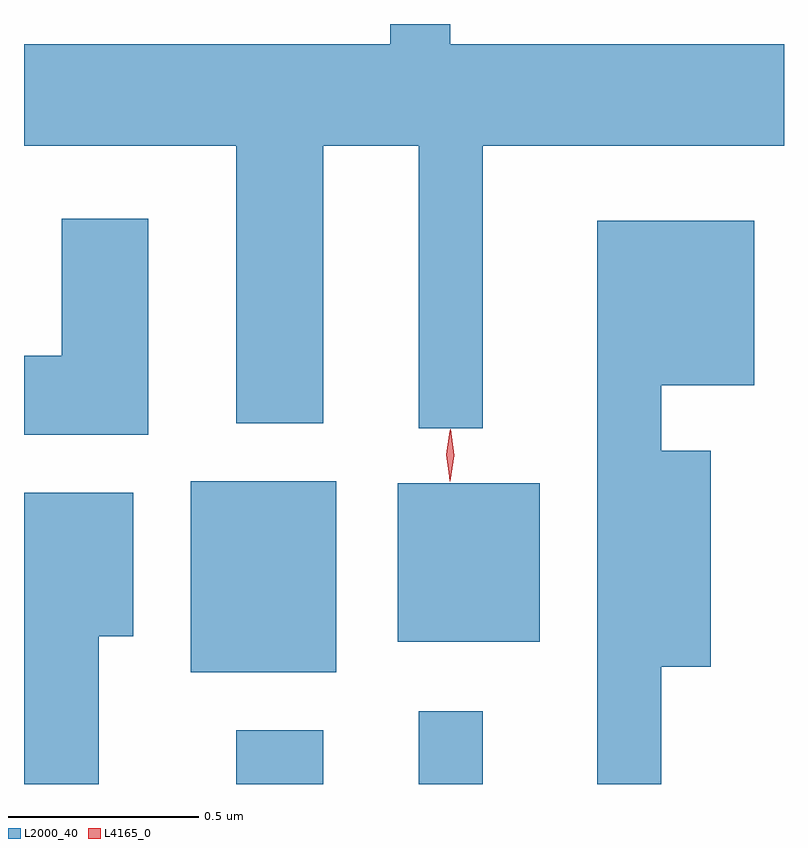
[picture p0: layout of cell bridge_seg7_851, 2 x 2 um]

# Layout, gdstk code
import gdstk
lib = gdstk.Library(unit=1e-6, precision=1e-09)
def R(c, l, rs):  # rectangles x0, y0, x1, y1
    for r in rs: c.add(gdstk.rectangle(r[:2], r[2:], *l))
def P(c, l, *ps):  # polygons
    for p in ps: c.add(gdstk.Polygon(p, *l))
L2000_40 = (2000, 40)
L4165_0 = (4165, 0)

bridge_seg7_851 = lib.new_cell('bridge_seg7_851')
R(bridge_seg7_851, L2000_40, [(220.791,1761.477,221.019,1761.619), (221.271,1761.477,221.439,1761.668), (220.671,1761.771,221.054,1762.274), (221.216,1761.851,221.589,1762.269)])
P(bridge_seg7_851, L2000_40, [(221.439,1763.156),(222.232,1763.156),(222.232,1763.424),(221.354,1763.424),(221.354,1763.477),(221.196,1763.477),(221.196,1763.424),(220.232,1763.424),(220.232,1763.156),(220.791,1763.156),(220.791,1762.426),(221.019,1762.426),(221.019,1763.156),(221.271,1763.156),(221.271,1762.413),(221.439,1762.413)],
  [(220.559,1762.964),(220.331,1762.964),(220.331,1762.604),(220.232,1762.604),(220.232,1762.396),(220.559,1762.396)],
  [(221.909,1761.786),(222.039,1761.786),(222.039,1762.354),(221.909,1762.354),(221.909,1762.526),(222.154,1762.526),(222.154,1762.959),(221.741,1762.959),(221.741,1761.477),(221.909,1761.477)],
  [(220.429,1761.866),(220.519,1761.866),(220.519,1762.244),(220.232,1762.244),(220.232,1761.477),(220.429,1761.477)])
P(bridge_seg7_851, L4165_0, [(221.353,1762.274),(221.344,1762.342),(221.354,1762.41),(221.355,1762.41),(221.355,1762.41),(221.364,1762.342),(221.354,1762.274),(221.354,1762.274)],
  [(221.353,1762.278),(221.353,1762.279),(221.343,1762.343),(221.353,1762.407),(221.353,1762.407),(221.354,1762.407),(221.364,1762.343),(221.354,1762.279)])

lib.write_gds('bridge_seg7_851.gds')
